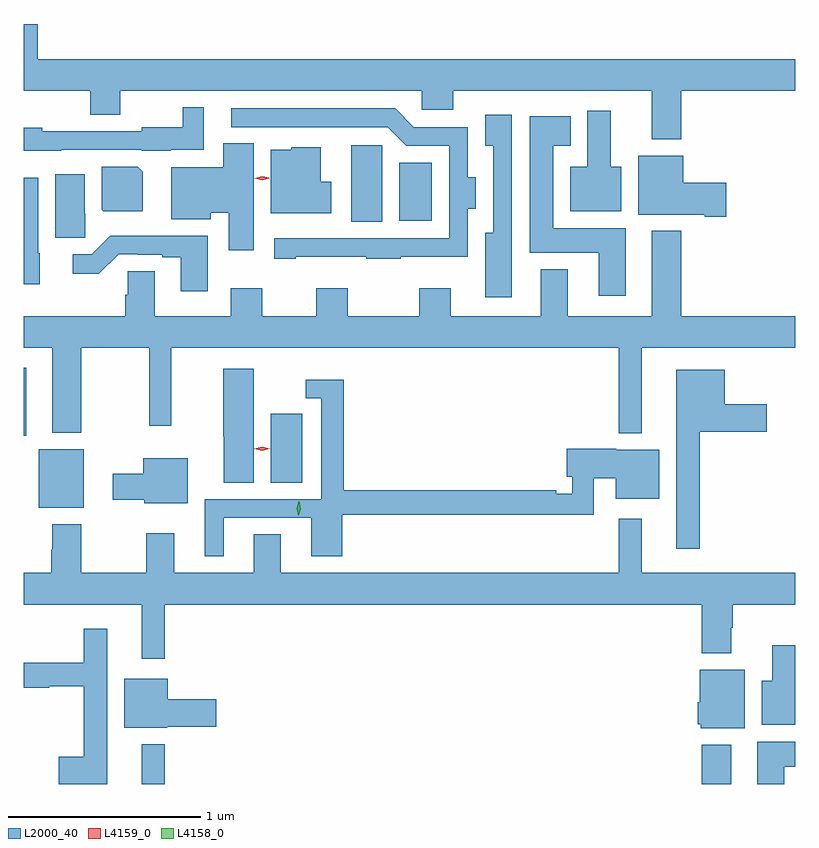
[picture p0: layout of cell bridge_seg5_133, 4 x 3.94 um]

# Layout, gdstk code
import gdstk
lib = gdstk.Library(unit=1e-6, precision=1e-09)
def R(c, l, rs):  # rectangles x0, y0, x1, y1
    for r in rs: c.add(gdstk.rectangle(r[:2], r[2:], *l))
def P(c, l, *ps):  # polygons
    for p in ps: c.add(gdstk.Polygon(p, *l))
L2000_40 = (2000, 40)
L4158_0 = (4158, 0)
L4159_0 = (4159, 0)

bridge_seg5_133 = lib.new_cell('bridge_seg5_133')
R(bridge_seg5_133, L2000_40, [(257.033,885.134,257.154,885.34), (259.937,885.134,260.089,885.337), (256.499,886.565,256.732,886.87), (257.702,886.696,257.866,887.053), (256.422,886.94,256.435,887.293), (258.119,888.049,258.28,888.445), (258.368,888.053,258.538,888.355)])
P(bridge_seg5_133, L2000_40, [(259.832,888.728),(260.422,888.728),(260.422,888.892),(256.496,888.892),(256.496,889.074),(256.422,889.074),(256.422,888.728),(256.767,888.728),(256.767,888.604),(256.923,888.604),(256.923,888.728),(258.486,888.728),(258.486,888.63),(258.65,888.63),(258.65,888.728),(259.679,888.728),(259.679,888.476),(259.832,888.476)],
  [(256.617,888.423),(257.034,888.423),(257.034,888.416),(257.184,888.416),(257.184,888.422),(257.356,888.422),(257.356,888.643),(257.247,888.643),(257.247,888.538),(257.034,888.538),(257.034,888.519),(256.518,888.519),(256.518,888.537),(256.422,888.537),(256.422,888.416),(256.617,888.416)],
  [(257.833,887.867),(258.199,887.867),(258.199,887.856),(258.377,887.856),(258.377,887.867),(258.723,887.867),(258.723,888.116),(258.766,888.116),(258.766,888.28),(258.724,888.28),(258.724,888.54),(258.444,888.54),(258.348,888.636),(257.499,888.636),(257.499,888.54),(258.309,888.54),(258.405,888.444),(258.627,888.444),(258.627,887.964),(257.721,887.964),(257.721,887.856),(257.833,887.856)],
  [(259.519,888.334),(259.465,888.334),(259.465,888.625),(259.343,888.625),(259.343,888.334),(259.256,888.334),(259.256,888.104),(259.519,888.104)],
  [(258.952,887.888),(258.951,887.888),(258.951,888.604),(258.815,888.604),(258.815,888.443),(258.855,888.443),(258.855,887.992),(258.815,887.992),(258.815,887.658),(258.952,887.658)],
  [(259.543,888.016),(259.168,888.016),(259.168,888.443),(259.258,888.443),(259.258,888.595),(259.046,888.595),(259.046,887.888),(259.403,887.888),(259.403,887.664),(259.543,887.664)],
  [(257.614,888.455),(257.456,888.455),(257.456,888.332),(257.186,888.332),(257.186,888.062),(257.392,888.062),(257.392,888.095),(257.486,888.095),(257.486,887.901),(257.614,887.901)],
  [(258.016,888.256),(257.962,888.256),(257.962,888.436),(257.808,888.436),(257.808,888.421),(257.702,888.421),(257.702,888.092),(258.016,888.092)],
  [(260.065,888.252),(259.84,888.252),(259.84,888.391),(259.607,888.391),(259.607,888.086),(259.952,888.086),(259.952,888.074),(260.065,888.074)],
  [(257.038,888.308),(257.012,888.334),(256.826,888.334),(256.826,888.112),(256.834,888.104),(257.038,888.104)],
  [(256.742,888.09),(256.738,888.09),(256.738,888.295),(256.586,888.295),(256.586,887.967),(256.742,887.967)],
  [(256.504,887.886),(256.498,887.886),(256.498,888.277),(256.422,888.277),(256.422,887.724),(256.504,887.724)],
  [(259.627,887.396),(260.422,887.396),(260.422,887.56),(259.832,887.56),(259.832,888.001),(259.679,888.001),(259.679,887.56),(259.243,887.56),(259.243,887.803),(259.103,887.803),(259.103,887.56),(258.637,887.56),(258.637,887.704),(258.473,887.704),(258.473,887.56),(258.103,887.56),(258.103,887.704),(257.939,887.704),(257.939,887.56),(257.659,887.56),(257.659,887.704),(257.495,887.704),(257.495,887.56),(257.101,887.56),(257.101,887.792),(256.962,887.792),(256.962,887.67),(256.949,887.67),(256.949,887.56),(256.422,887.56),(256.422,887.396),(256.571,887.396),(256.571,886.955),(256.719,886.955),(256.719,887.396),(257.073,887.396),(257.073,886.992),(257.186,886.992),(257.186,887.396),(259.506,887.396),(259.506,887.059),(259.507,887.059),(259.507,886.952),(259.627,886.952)],
  [(257.377,887.975),(256.871,887.975),(256.776,887.88),(256.677,887.88),(256.677,887.778),(256.812,887.778),(256.914,887.88),(257.014,887.88),(257.014,887.877),(257.141,887.877),(257.141,887.865),(257.237,887.865),(257.237,887.688),(257.377,887.688)],
  [(257.614,887.287),(257.456,887.287),(257.456,886.938),(257.459,886.938),(257.459,886.696),(257.614,886.696)],
  [(259.927,886.961),(260.275,886.961),(260.275,887.103),(260.056,887.103),(260.056,887.281),(259.805,887.281),(259.805,886.353),(259.927,886.353)],
  [(257.458,886.515),(257.912,886.515),(257.912,886.314),(258.074,886.314),(258.074,886.53),(259.377,886.53),(259.377,886.72),(259.49,886.72),(259.49,886.613),(259.717,886.613),(259.717,886.867),(259.494,886.867),(259.494,886.872),(259.238,886.872),(259.238,886.727),(259.265,886.727),(259.265,886.638),(259.184,886.638),(259.184,886.658),(258.08,886.658),(258.08,887.23),(257.883,887.23),(257.883,887.133),(257.964,887.133),(257.964,886.611),(257.36,886.611),(257.36,886.314),(257.458,886.314)],
  [(257.272,886.822),(257.042,886.822),(257.042,886.742),(256.884,886.742),(256.884,886.607),(257.046,886.607),(257.046,886.589),(257.272,886.589)],
  [(259.937,885.812),(260.089,885.812),(260.089,885.944),(260.097,885.944),(260.097,886.064),(260.422,886.064),(260.422,886.228),(259.627,886.228),(259.627,886.51),(259.506,886.51),(259.506,886.228),(257.755,886.228),(257.755,886.43),(257.615,886.43),(257.615,886.228),(257.203,886.228),(257.203,886.435),(257.056,886.435),(257.056,886.228),(256.719,886.228),(256.719,886.48),(256.571,886.48),(256.571,886.349),(256.564,886.349),(256.564,886.228),(256.422,886.228),(256.422,886.064),(257.033,886.064),(257.033,885.783),(257.154,885.783),(257.154,886.064),(259.937,886.064)],
  [(256.855,885.94),(256.734,885.94),(256.734,885.763),(256.422,885.763),(256.422,885.634),(256.555,885.634),(256.555,885.642),(256.734,885.642),(256.734,885.274),(256.604,885.274),(256.604,885.134),(256.855,885.134)],
  [(260.422,885.853),(260.303,885.853),(260.303,885.67),(260.249,885.67),(260.249,885.44),(260.422,885.44)],
  [(260.161,885.727),(259.928,885.727),(259.928,885.558),(259.916,885.558),(259.916,885.444),(259.932,885.444),(259.932,885.422),(260.161,885.422)],
  [(257.166,885.431),(257.419,885.431),(257.419,885.573),(257.17,885.573),(257.17,885.679),(256.943,885.679),(256.943,885.425),(257.166,885.425)],
  [(260.365,885.224),(260.422,885.224),(260.422,885.352),(260.225,885.352),(260.225,885.134),(260.365,885.134)])
P(bridge_seg5_133, L4158_0, [(257.847,886.526),(257.846,886.527),(257.838,886.563),(257.849,886.599),(257.85,886.599),(257.85,886.599),(257.858,886.562),(257.847,886.527)])
P(bridge_seg5_133, L4159_0, [(257.658,886.862),(257.618,886.872),(257.618,886.872),(257.618,886.872),(257.658,886.882),(257.698,886.872),(257.698,886.872),(257.698,886.872)],
  [(257.658,888.265),(257.62,888.274),(257.62,888.274),(257.62,888.274),(257.658,888.285),(257.695,888.276),(257.695,888.276),(257.695,888.275)])

lib.write_gds('bridge_seg5_133.gds')
